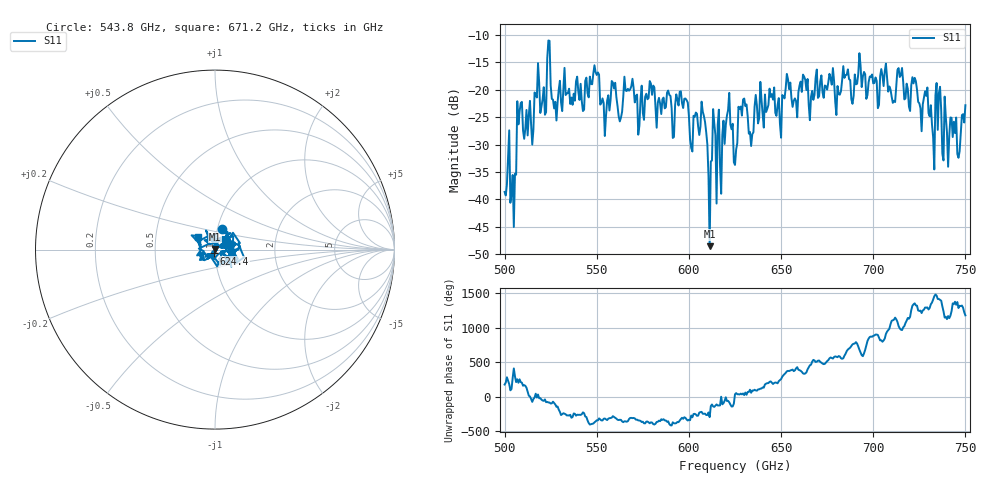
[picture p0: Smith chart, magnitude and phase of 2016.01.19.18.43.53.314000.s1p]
!Created with skrf (http://scikit-rf.org).
# GHz S RI R 50.0
!freq ReS11 ImS11
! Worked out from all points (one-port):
!   401 points, 500 GHz to 750 GHz, reference 50 ohm
!   lowest |S11| = -48.5 dB at 611.2 GHz (marker M1), VSWR 1.01, Z = 50.2 + j0.328 ohm
!   |S11| at or under -10 dB: start of sweep to end of sweep
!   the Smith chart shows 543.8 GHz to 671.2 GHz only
!   S11 on the Smith chart (normalised r, x): 543.8 GHz: 1.05, +0.24; 624.4 GHz: 0.99, -0.04; 671.2 GHz: 0.82, +0.11
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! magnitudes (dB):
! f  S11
! 500 GHz  -38.6
! 505 GHz  -45.0
! 508.1 GHz  -24.0
! 514.4 GHz  -26.3
! 524.4 GHz  -11.1
! 526.9 GHz  -23.4
! 531.2 GHz  -23.9
! 543.8 GHz  -18.4
! 550 GHz  -17.3
! 562.5 GHz  -25.8
! 593.8 GHz  -21.8
! 608.1 GHz  -24.8
! 611.2 GHz  -48.5
! 613.1 GHz  -23.5
! 616.2 GHz  -23.6
! 621.2 GHz  -23.7
! 624.4 GHz  -33.2
! 625 GHz  -33.7
! 628.8 GHz  -24.7
! 633.8 GHz  -30.3
! 656.2 GHz  -23.1
! 671.2 GHz  -18.5
! 687.5 GHz  -18.2
! 718.8 GHz  -19.8
! 731.9 GHz  -26.3
! 735 GHz  -27.3
! 745.6 GHz  -31.7
! 750 GHz  -22.8
